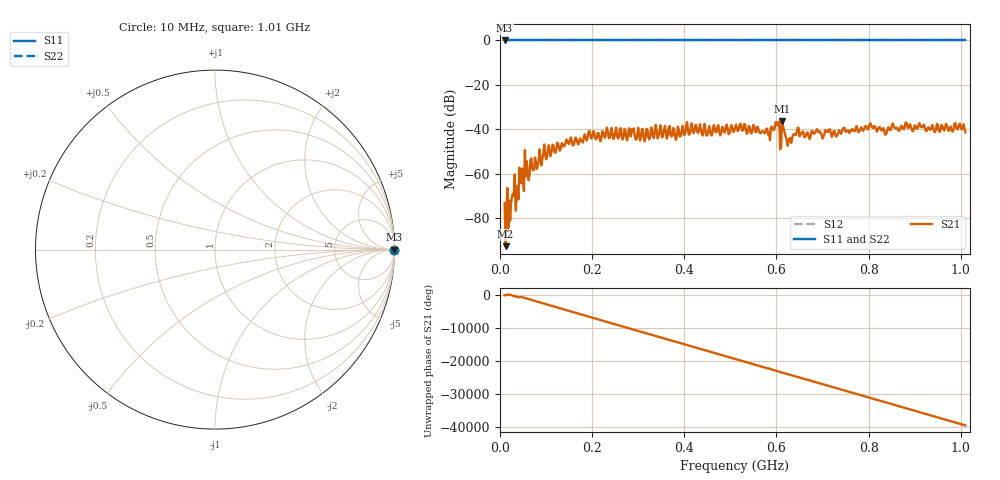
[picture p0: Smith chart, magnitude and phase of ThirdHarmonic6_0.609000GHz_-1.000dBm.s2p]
! 8/15/2025 7:57:24 PM
! C:\ANRITSUVNA\TEMP\TEMP.S2P
! CHANNEL.1
! TR.MEASUREMENT
! RAW.DATA
! RF.CORRECTION.OFF
! AVERAGING.OFF
! IF.BANDWIDTH: 5KHZ
! SWEEPTYPE:  FREQ.SWEEP(Linear)
! Reference Plane Port Info
! PORT:  PORT1  PORT2
! DISTANCE:  0  m  0  m
! TIME:  0  s  0  s
! PHASE.OFFSET:  0  deg.  0  deg.
! LOSS:  0  dB  0  dB
! REF.LOSS:  0  dB  0  dB
! REF.FREQ:  0  Hz  0  Hz
! Power Info
! POWER:  -20  dBm  -20  dBm
! EFF.POWER:  -20  dBm  -20  dBm
! SOURCE.ATTEN:  0  dB  0  dB
! TEST.ATTEN:  0  dB  0  dB
# GHZ S RI R 50.0
! FREQ.GHZ  S11RE  S11IM  S21RE  S21IM  S12RE  S12IM  S22RE  S22IM
!; PortSelection: Port_12
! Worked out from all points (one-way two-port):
!   501 points, 10 MHz to 1.01 GHz, reference 50 ohm
!   highest |S21| = -36.48 dB at 612 MHz (marker M1); lowest = -92.6 dB at 12 MHz (marker M2)
!   lowest |S11| = 0.0 dB at 10 MHz (marker M3)
!   |S11| at or under -10 dB: nowhere
!   |S22| runs from 0.0 to 0.0 dB; largest |S21 - S12| = 1
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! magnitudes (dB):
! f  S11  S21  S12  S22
! 10 MHz  0.0  -73.2  0.0  0.0
! 12 MHz  0.0  -92.6  0.0  0.0
! 22 MHz  0.0  -81.1  0.0  0.0
! 28 MHz  0.0  -69.0  0.0  0.0
! 38 MHz  0.0  -65.5  0.0  0.0
! 46 MHz  0.0  -64.3  0.0  0.0
! 48 MHz  0.0  -57.7  0.0  0.0
! 58 MHz  0.0  -54.3  0.0  0.0
! 110 MHz  0.0  -52.1  0.0  0.0
! 178 MHz  0.0  -45.4  0.0  0.0
! 344 MHz  0.0  -43.2  0.0  0.0
! 510 MHz  0.0  -39.4  0.0  0.0
! 582 MHz  0.0  -42.6  0.0  0.0
! 602 MHz  0.0  -38.1  0.0  0.0
! 606 MHz  0.0  -36.5  0.0  0.0
! 612 MHz  0.0  -36.5  0.0  0.0
! 616 MHz  0.0  -40.1  0.0  0.0
! 628 MHz  0.0  -44.1  0.0  0.0
! 644 MHz  0.0  -41.3  0.0  0.0
! 678 MHz  0.0  -40.8  0.0  0.0
! 844 MHz  0.0  -39.3  0.0  0.0
! 1.01 GHz  0.0  -41.4  0.0  0.0
